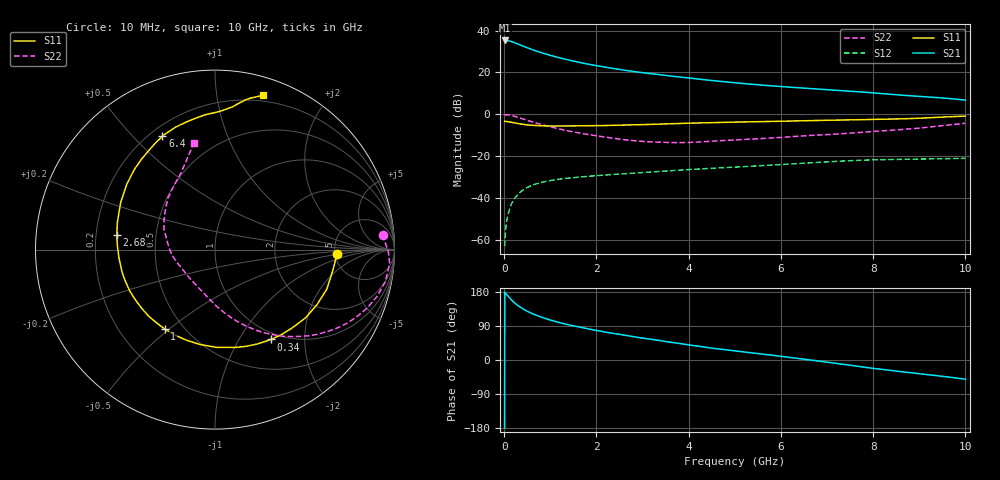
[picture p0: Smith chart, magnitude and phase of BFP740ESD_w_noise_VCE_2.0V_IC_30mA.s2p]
! Infineon Technologies  Discrete & RF Semiconductors
! BFP740ESD
! VCE =  2.0 V,  IC =  30 mA
! Common Emitter S-Parameters:  Jan 2016
# GHz  S  MA  R  50
!  f  S11  S21  S12  S22
! GHz  MAG  ANG  MAG  ANG  MAG  ANG  MAG  ANG
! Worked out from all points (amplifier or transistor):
!   233 points, 10 MHz to 10 GHz, reference 50 ohm
!   highest |S21| = 35.3 dB at 10 MHz (marker M1)
!   |S21| within 3 dB of that: start of sweep to 442.6 MHz
!   unconditionally stable (mu >= 1): 4.047 GHz to 6.95 GHz
!   at 200 MHz: K = 0.19, MSG = 37.8 dB, |S12| = -41.2 dB
!   at 1.74 GHz: K = 0.69, MSG = 27.1 dB, |S12| = -29.8 dB
!   at 10 GHz: K = 0.72, MSG = 13.9 dB, |S12| = -21.1 dB
!   lowest NFmin = 0.96 dB at 450 MHz
!   S11 on the Smith chart (normalised r, x): 10 MHz: 5.16, -0.47; 340 MHz: 0.90, -1.38; 1 GHz: 0.40, -0.48; 2.68 GHz: 0.29, +0.07; 6.4 GHz: 0.25, +0.61; 10 GHz: 0.15, +1.35
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0.01  0.6777 -2.1  58.08 -179.2  0.0007 103.7  0.9378 5.1
0.02  0.6751 -4.3  58.03 177.5  0.0011 99.4  0.9673 -1.1
0.045  0.6681 -8.7  57.99 173.8  0.0023 90.9  0.9748 -4.1
0.1  0.6607 -19.5  57.26 166.2  0.0046 81.5  0.9653 -10.7
0.15  0.6456 -28.5  55.21 159.4  0.0068 76.7  0.9402 -16.1
0.24  0.6165 -43.3  50.62 149.2  0.0101 70.5  0.8818 -24.3
0.3  0.6006 -52.5  47.68 143.4  0.0122 67.2  0.8414 -29.2
0.34  0.589 -58.2  45.7 140.2  0.0135 65.0  0.8144 -32.1
0.45  0.5661 -72.3  40.81 132.0  0.0165 60.0  0.7455 -39.1
0.6  0.545 -88.9  35.36 122.8  0.0199 54.1  0.662 -47.1
0.8  0.5293 -107.3  29.77 113.3  0.0234 48.6  0.5724 -55.9
1  0.5235 -122.5  25.59 105.4  0.026 44.4  0.4998 -63.5
1.32  0.5233 -141.3  20.7 95.0  0.0291 39.9  0.4136 -73.5
1.68  0.5282 -157.3  16.92 85.4  0.0318 36.9  0.3471 -82.8
2.16  0.5359 -174.0  13.51 74.4  0.035 34.7  0.2865 -94.2
2.68  0.5531 171.5  11.01 63.8  0.0382 33.0  0.2406 -108.6
3.4  0.5817 155.5  8.717 50.8  0.0431 31.2  0.2134 -129.7
5.1  0.651 128.3  5.517 22.5  0.0551 25.2  0.2463 -176.3
6.4  0.6957 114.9  4.283 3.6  0.0665 19.6  0.3004 159.8
6.8  0.7091 110.2  4.006 -2.5  0.0706 17.1  0.3171 153.7
8.4  0.7657 89.3  2.983 -27.8  0.0826 2.6  0.4137 125.0
10  0.9017 72.6  2.176 -50.8  0.0881 -9.8  0.6077 101.1
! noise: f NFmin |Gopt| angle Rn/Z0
0.45  0.96  0.14  -174  0.18
0.9  1.01  0.16  -162  0.09
1.9  1.03  0.19  -150  0.11
2.4  1.09  0.22  -136  0.12
5.5  1.24  0.37  -113  0.14
10  1.81  0.58  -83  0.65
